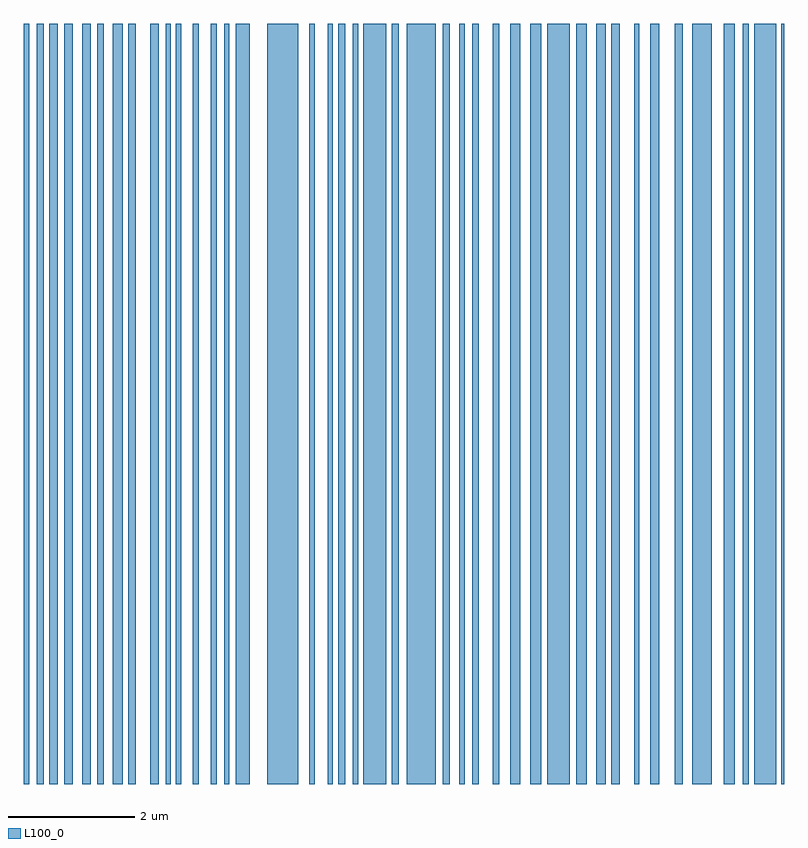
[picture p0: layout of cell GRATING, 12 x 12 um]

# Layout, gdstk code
import gdstk
lib = gdstk.Library(unit=1e-6, precision=1e-09)
def R(c, l, rs):  # rectangles x0, y0, x1, y1
    for r in rs: c.add(gdstk.rectangle(r[:2], r[2:], *l))
L100_0 = (100, 0)

grating = lib.new_cell('GRATING')
R(grating, L100_0, [(0,-6,0.08,6), (0.204,-6,0.313,6), (0.399,-6,0.533,6), (0.638,-6,0.767,6), (0.923,-6,1.056,6), (1.16,-6,1.263,6), (1.401,-6,1.557,6), (1.644,-6,1.766,6), (1.993,-6,2.13,6), (2.238,-6,2.318,6), (2.4,-6,2.481,6), (2.662,-6,2.761,6), (2.948,-6,3.04,6), (3.162,-6,3.242,6), (3.342,-6,3.561,6), (3.84,-6,4.33,6), (4.501,-6,4.593,6), (4.797,-6,4.877,6), (4.959,-6,5.072,6), (5.192,-6,5.276,6), (5.357,-6,5.72,6), (5.806,-6,5.92,6), (6.04,-6,6.503,6), (6.612,-6,6.72,6), (6.869,-6,6.961,6), (7.08,-6,7.184,6), (7.405,-6,7.503,6), (7.68,-6,7.837,6), (7.993,-6,8.164,6), (8.263,-6,8.618,6), (8.723,-6,8.886,6), (9.032,-6,9.184,6), (9.274,-6,9.409,6), (9.636,-6,9.716,6), (9.886,-6,10.031,6), (10.278,-6,10.404,6), (10.552,-6,10.86,6), (11.047,-6,11.222,6), (11.352,-6,11.443,6), (11.534,-6,11.874,6), (11.954,-6,12,6)])

lib.write_gds('GRATING.gds')
